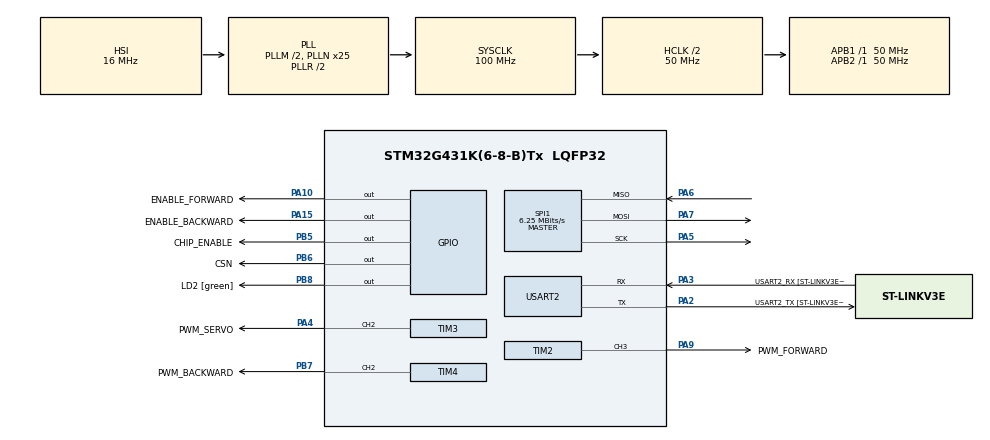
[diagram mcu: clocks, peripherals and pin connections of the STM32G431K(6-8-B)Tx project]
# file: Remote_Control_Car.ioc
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Mcu.Family=STM32G4
Mcu.Name=STM32G431K(6-8-B)Tx
Mcu.Package=LQFP32
NVIC.PriorityGroup=NVIC_PRIORITYGROUP_4
PA10.GPIO_Label=ENABLE_FORWARD
PA10.Signal=GPIO_Output
PA13.GPIO_Label=T_SWDIO
PA13.Mode=Serial_Wire
PA13.Signal=SYS_JTMS-SWDIO
PA14.GPIO_Label=T_SWCLK
PA14.Mode=Serial_Wire
PA14.Signal=SYS_JTCK-SWCLK
PA15.GPIO_Label=ENABLE_BACKWARD
PA15.Signal=GPIO_Output
PA2.GPIO_Label=USART2_TX [ST-LINKV3E_VCP_RX]
PA2.Mode=Asynchronous
PA2.Signal=USART2_TX
PA3.GPIO_Label=USART2_RX [ST-LINKV3E_VCP_TX]
PA3.Mode=Asynchronous
PA3.Signal=USART2_RX
PA4.GPIO_Label=PWM_SERVO
PA4.Signal=S_TIM3_CH2
PA5.Mode=Full_Duplex_Master
PA5.Signal=SPI1_SCK
PA6.Mode=Full_Duplex_Master
PA6.Signal=SPI1_MISO
PA7.Mode=Full_Duplex_Master
PA7.Signal=SPI1_MOSI
PA9.GPIO_Label=PWM_FORWARD
PA9.Signal=S_TIM2_CH3
PB3.GPIO_Label=T_SWO
PB3.Signal=SYS_JTDO-SWO
PB5.GPIO_Label=CHIP_ENABLE
PB5.Signal=GPIO_Output
PB6.GPIO_Label=CSN
PB6.PinState=GPIO_PIN_SET
PB6.Signal=GPIO_Output
PB7.GPIO_Label=PWM_BACKWARD
PB7.Signal=S_TIM4_CH2
PB8-BOOT0.GPIO_Label=LD2 [green]
PB8-BOOT0.Signal=GPIO_Output
ProjectManager.HeapSize=0x200
ProjectManager.StackSize=0x400
ProjectManager.TargetToolchain=STM32CubeIDE
RCC.ADC12Freq_Value=100000000
RCC.AHBCLKDivider=RCC_SYSCLK_DIV2
RCC.AHBFreq_Value=50000000
RCC.APB1Freq_Value=50000000
RCC.APB1TimFreq_Value=50000000
RCC.APB2Freq_Value=50000000
RCC.APB2TimFreq_Value=50000000
RCC.CortexFreq_Value=50000000
RCC.EXTERNAL_CLOCK_VALUE=12288000
RCC.HCLKFreq_Value=50000000
RCC.HSE_VALUE=8000000
RCC.HSI48_VALUE=48000000
RCC.HSI_VALUE=16000000
RCC.LSE_VALUE=32768
RCC.PLLM=RCC_PLLM_DIV2
RCC.PLLN=25
RCC.SYSCLKFreq_VALUE=100000000
RCC.SYSCLKSource=RCC_SYSCLKSOURCE_PLLCLK
RCC.USBFreq_Value=100000000
RCC.VCOOutputFreq_Value=200000000
SH.S_TIM2_CH3.0=TIM2_CH3,PWM Generation3 CH3
SH.S_TIM3_CH2.0=TIM3_CH2,PWM Generation2 CH2
SH.S_TIM4_CH2.0=TIM4_CH2,PWM Generation2 CH2
SPI1.BaudRatePrescaler=SPI_BAUDRATEPRESCALER_8
SPI1.CalculateBaudRate=6.25 MBits/s
SPI1.DataSize=SPI_DATASIZE_8BIT
SPI1.Direction=SPI_DIRECTION_2LINES
SPI1.Mode=SPI_MODE_MASTER
SPI1.VirtualType=VM_MASTER
TIM2.Channel-PWM\ Generation3\ CH3=TIM_CHANNEL_3
TIM2.PeriodNoDither=200
TIM2.Prescaler=50000-1
TIM3.Channel-PWM\ Generation2\ CH2=TIM_CHANNEL_2
TIM3.PeriodNoDither=20000
TIM3.Prescaler=50-1
TIM3.PulseNoDither_2=1500
TIM4.Channel-PWM\ Generation2\ CH2=TIM_CHANNEL_2
TIM4.PeriodNoDither=200
TIM4.Prescaler=50000-1
USART2.VirtualMode-Asynchronous=VM_ASYNC
USART2.WordLength=WORDLENGTH_8B
VP_SYS_VS_DBSignals.Mode=DisableDeadBatterySignals
board=NUCLEO-G431KB

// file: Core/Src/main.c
/* USER CODE BEGIN Header */
/**
  ******************************************************************************
  * @file           : main.c
  * @brief          : Main program body
  ******************************************************************************
  * @attention
  *
  * Copyright (c) 2024 STMicroelectronics.
  * All rights reserved.
  *
  * This software is licensed under terms that can be found in the LICENSE file
  * in the root directory of this software component.
  * If no LICENSE file comes with this software, it is provided AS-IS.
  *
  ******************************************************************************
  */
/* USER CODE END Header */
#include "main.h"

/* USER CODE BEGIN Includes */
#include <string.h>
#include <stdbool.h>
#include <stdio.h>
#include "motor_control.h"
#include "RFDriver.h"
#include "process_raw_data.h"
/* USER CODE END Includes */

/* USER CODE BEGIN PD */
#define MAX_UINT_12 (4095)

#define RAW_STRAIGHT_VALUE ((MAX_UINT_12 + 1)/2)
#define RAW_STOP_VALUE ((MAX_UINT_12 + 1)/2)

#define STEERING_LEFT (1000)
#define STEERING_RIGHT (2000)
/* USER CODE END PD */

SPI_HandleTypeDef hspi1;

TIM_HandleTypeDef htim2;
TIM_HandleTypeDef htim3;
TIM_HandleTypeDef htim4;

UART_HandleTypeDef huart2;

void SystemClock_Config(void);
static void MX_GPIO_Init(void);
static void MX_USART2_UART_Init(void);
static void MX_SPI1_Init(void);
static void MX_TIM3_Init(void);
static void MX_TIM2_Init(void);
static void MX_TIM4_Init(void);

int main(void)
{

  /* MCU Configuration--------------------------------------------------------*/

  /* Reset of all peripherals, Initializes the Flash interface and the Systick. */
  HAL_Init();

  /* Configure the system clock */
  SystemClock_Config();

  /* Initialize all configured peripherals */
  MX_GPIO_Init();
  MX_USART2_UART_Init();
  MX_SPI1_Init();
  MX_TIM3_Init();
  MX_TIM2_Init();
  MX_TIM4_Init();

  /* Infinite loop */
  /* USER CODE BEGIN WHILE */

  char debug_buffer[40];

  // Setup Steering
  uint16_t raw_steering = RAW_STRAIGHT_VALUE;
  HAL_TIM_PWM_Start(&htim3, TIM_CHANNEL_2);

  // Setup Motor
  MC_HandleTypeDef hforward;
  hforward.htim = &htim2;
  hforward.channel = TIM_CHANNEL_3;
  hforward.port = ENABLE_FORWARD_GPIO_Port;
  hforward.pin = ENABLE_FORWARD_Pin;

  MC_HandleTypeDef hbackward = {
		  .htim = &htim4,
		  .channel = TIM_CHANNEL_2,
		  .port = ENABLE_BACKWARD_GPIO_Port,
		  .pin = ENABLE_BACKWARD_Pin,
  };

  setupMotorControl(hforward, hbackward);

  // Setup Radio
  RF_HandleTypeDef hRF;
  hRF.hspi = &hspi1;
  hRF.portCE = CHIP_ENABLE_GPIO_Port;
  hRF.pinCE = CHIP_ENABLE_Pin;
  hRF.portCSN = CSN_GPIO_Port;
  hRF.pinCSN = CSN_Pin;
  RFSetup(hRF);
  HAL_Delay(100);
  RXSetup();

  while (1)
  {

	// Retrieve Data
	const uint8_t rx_buffer_count = 32;
	uint8_t rx_buffer[rx_buffer_count];

	uint16_t raw_throttle = RAW_STOP_VALUE;
	if (RXReceive(rx_buffer)) {
		decodeData(rx_buffer, &raw_steering, &raw_throttle);
	}

	// Throttle Control
	const int8_t throttle = processRawThrottle(raw_throttle);
	wheelThrottle(throttle);

	// Steering Control
	// Left: Duty Cycle 1ms
	// Right: Duty Cycle 2ms
	// PWM Period: 20ms
	const uint32_t steering_range = STEERING_RIGHT - STEERING_LEFT;
	const uint32_t steering = STEERING_LEFT + (steering_range*raw_steering)/MAX_UINT_12;
	__HAL_TIM_SET_COMPARE(&htim3, TIM_CHANNEL_2, steering);

	sprintf(debug_buffer, "Steering, Throttle: %lu, %d,  \r\n", steering, throttle);
	HAL_UART_Transmit(&huart2, debug_buffer, strlen((char*)debug_buffer), HAL_MAX_DELAY);
	HAL_Delay(20);
    /* USER CODE END WHILE */

  }
}

void SystemClock_Config(void)
{
  RCC_OscInitTypeDef RCC_OscInitStruct = {0};
  RCC_ClkInitTypeDef RCC_ClkInitStruct = {0};

  /** Configure the main internal regulator output voltage
  */
  HAL_PWREx_ControlVoltageScaling(PWR_REGULATOR_VOLTAGE_SCALE1);

  /** Initializes the RCC Oscillators according to the specified parameters
  * in the RCC_OscInitTypeDef structure.
  */
  RCC_OscInitStruct.OscillatorType = RCC_OSCILLATORTYPE_HSI;
  RCC_OscInitStruct.HSIState = RCC_HSI_ON;
  RCC_OscInitStruct.HSICalibrationValue = RCC_HSICALIBRATION_DEFAULT;
  RCC_OscInitStruct.PLL.PLLState = RCC_PLL_ON;
  RCC_OscInitStruct.PLL.PLLSource = RCC_PLLSOURCE_HSI;
  RCC_OscInitStruct.PLL.PLLM = RCC_PLLM_DIV2;
  RCC_OscInitStruct.PLL.PLLN = 25;
  RCC_OscInitStruct.PLL.PLLP = RCC_PLLP_DIV2;
  RCC_OscInitStruct.PLL.PLLQ = RCC_PLLQ_DIV2;
  RCC_OscInitStruct.PLL.PLLR = RCC_PLLR_DIV2;
  if (HAL_RCC_OscConfig(&RCC_OscInitStruct) != HAL_OK)
  {
    Error_Handler();
  }

  /** Initializes the CPU, AHB and APB buses clocks
  */
  RCC_ClkInitStruct.ClockType = RCC_CLOCKTYPE_HCLK|RCC_CLOCKTYPE_SYSCLK
                              |RCC_CLOCKTYPE_PCLK1|RCC_CLOCKTYPE_PCLK2;
  RCC_ClkInitStruct.SYSCLKSource = RCC_SYSCLKSOURCE_PLLCLK;
  RCC_ClkInitStruct.AHBCLKDivider = RCC_SYSCLK_DIV2;
  RCC_ClkInitStruct.APB1CLKDivider = RCC_HCLK_DIV1;
  RCC_ClkInitStruct.APB2CLKDivider = RCC_HCLK_DIV1;

  if (HAL_RCC_ClockConfig(&RCC_ClkInitStruct, FLASH_LATENCY_1) != HAL_OK)
  {
    Error_Handler();
  }
}

static void MX_SPI1_Init(void)
{

  /* SPI1 parameter configuration*/
  hspi1.Instance = SPI1;
  hspi1.Init.Mode = SPI_MODE_MASTER;
  hspi1.Init.Direction = SPI_DIRECTION_2LINES;
  hspi1.Init.DataSize = SPI_DATASIZE_8BIT;
  hspi1.Init.CLKPolarity = SPI_POLARITY_LOW;
  hspi1.Init.CLKPhase = SPI_PHASE_1EDGE;
  hspi1.Init.NSS = SPI_NSS_SOFT;
  hspi1.Init.BaudRatePrescaler = SPI_BAUDRATEPRESCALER_8;
  hspi1.Init.FirstBit = SPI_FIRSTBIT_MSB;
  hspi1.Init.TIMode = SPI_TIMODE_DISABLE;
  hspi1.Init.CRCCalculation = SPI_CRCCALCULATION_DISABLE;
  hspi1.Init.CRCPolynomial = 7;
  hspi1.Init.CRCLength = SPI_CRC_LENGTH_DATASIZE;
  hspi1.Init.NSSPMode = SPI_NSS_PULSE_ENABLE;
  if (HAL_SPI_Init(&hspi1) != HAL_OK)
  {
    Error_Handler();
  }

}

static void MX_TIM2_Init(void)
{

  TIM_MasterConfigTypeDef sMasterConfig = {0};
  TIM_OC_InitTypeDef sConfigOC = {0};

  htim2.Instance = TIM2;
  htim2.Init.Prescaler = 50000-1;
  htim2.Init.CounterMode = TIM_COUNTERMODE_UP;
  htim2.Init.Period = 200;
  htim2.Init.ClockDivision = TIM_CLOCKDIVISION_DIV1;
  htim2.Init.AutoReloadPreload = TIM_AUTORELOAD_PRELOAD_DISABLE;
  if (HAL_TIM_PWM_Init(&htim2) != HAL_OK)
  {
    Error_Handler();
  }
  sMasterConfig.MasterOutputTrigger = TIM_TRGO_RESET;
  sMasterConfig.MasterSlaveMode = TIM_MASTERSLAVEMODE_DISABLE;
  if (HAL_TIMEx_MasterConfigSynchronization(&htim2, &sMasterConfig) != HAL_OK)
  {
    Error_Handler();
  }
  sConfigOC.OCMode = TIM_OCMODE_PWM1;
  sConfigOC.Pulse = 0;
  sConfigOC.OCPolarity = TIM_OCPOLARITY_HIGH;
  sConfigOC.OCFastMode = TIM_OCFAST_DISABLE;
  if (HAL_TIM_PWM_ConfigChannel(&htim2, &sConfigOC, TIM_CHANNEL_3) != HAL_OK)
  {
    Error_Handler();
  }
  HAL_TIM_MspPostInit(&htim2);

}

static void MX_TIM3_Init(void)
{

  TIM_MasterConfigTypeDef sMasterConfig = {0};
  TIM_OC_InitTypeDef sConfigOC = {0};

  htim3.Instance = TIM3;
  htim3.Init.Prescaler = 50-1;
  htim3.Init.CounterMode = TIM_COUNTERMODE_UP;
  htim3.Init.Period = 20000;
  htim3.Init.ClockDivision = TIM_CLOCKDIVISION_DIV1;
  htim3.Init.AutoReloadPreload = TIM_AUTORELOAD_PRELOAD_DISABLE;
  if (HAL_TIM_PWM_Init(&htim3) != HAL_OK)
  {
    Error_Handler();
  }
  sMasterConfig.MasterOutputTrigger = TIM_TRGO_RESET;
  sMasterConfig.MasterSlaveMode = TIM_MASTERSLAVEMODE_DISABLE;
  if (HAL_TIMEx_MasterConfigSynchronization(&htim3, &sMasterConfig) != HAL_OK)
  {
    Error_Handler();
  }
  sConfigOC.OCMode = TIM_OCMODE_PWM1;
  sConfigOC.Pulse = 1500;
  sConfigOC.OCPolarity = TIM_OCPOLARITY_HIGH;
  sConfigOC.OCFastMode = TIM_OCFAST_DISABLE;
  if (HAL_TIM_PWM_ConfigChannel(&htim3, &sConfigOC, TIM_CHANNEL_2) != HAL_OK)
  {
    Error_Handler();
  }
  HAL_TIM_MspPostInit(&htim3);

}

static void MX_TIM4_Init(void)
{

  TIM_MasterConfigTypeDef sMasterConfig = {0};
  TIM_OC_InitTypeDef sConfigOC = {0};

  htim4.Instance = TIM4;
  htim4.Init.Prescaler = 50000-1;
  htim4.Init.CounterMode = TIM_COUNTERMODE_UP;
  htim4.Init.Period = 200;
  htim4.Init.ClockDivision = TIM_CLOCKDIVISION_DIV1;
  htim4.Init.AutoReloadPreload = TIM_AUTORELOAD_PRELOAD_DISABLE;
  if (HAL_TIM_PWM_Init(&htim4) != HAL_OK)
  {
    Error_Handler();
  }
  sMasterConfig.MasterOutputTrigger = TIM_TRGO_RESET;
  sMasterConfig.MasterSlaveMode = TIM_MASTERSLAVEMODE_DISABLE;
  if (HAL_TIMEx_MasterConfigSynchronization(&htim4, &sMasterConfig) != HAL_OK)
  {
    Error_Handler();
  }
  sConfigOC.OCMode = TIM_OCMODE_PWM1;
  sConfigOC.Pulse = 0;
  sConfigOC.OCPolarity = TIM_OCPOLARITY_HIGH;
  sConfigOC.OCFastMode = TIM_OCFAST_DISABLE;
  if (HAL_TIM_PWM_ConfigChannel(&htim4, &sConfigOC, TIM_CHANNEL_2) != HAL_OK)
  {
    Error_Handler();
  }
  HAL_TIM_MspPostInit(&htim4);

}

static void MX_USART2_UART_Init(void)
{

  huart2.Instance = USART2;
  huart2.Init.BaudRate = 115200;
  huart2.Init.WordLength = UART_WORDLENGTH_8B;
  huart2.Init.StopBits = UART_STOPBITS_1;
  huart2.Init.Parity = UART_PARITY_NONE;
  huart2.Init.Mode = UART_MODE_TX_RX;
  huart2.Init.HwFlowCtl = UART_HWCONTROL_NONE;
  huart2.Init.OverSampling = UART_OVERSAMPLING_16;
  huart2.Init.OneBitSampling = UART_ONE_BIT_SAMPLE_DISABLE;
  huart2.Init.ClockPrescaler = UART_PRESCALER_DIV1;
  huart2.AdvancedInit.AdvFeatureInit = UART_ADVFEATURE_NO_INIT;
  if (HAL_UART_Init(&huart2) != HAL_OK)
  {
    Error_Handler();
  }
  if (HAL_UARTEx_SetTxFifoThreshold(&huart2, UART_TXFIFO_THRESHOLD_1_8) != HAL_OK)
  {
    Error_Handler();
  }
  if (HAL_UARTEx_SetRxFifoThreshold(&huart2, UART_RXFIFO_THRESHOLD_1_8) != HAL_OK)
  {
    Error_Handler();
  }
  if (HAL_UARTEx_DisableFifoMode(&huart2) != HAL_OK)
  {
    Error_Handler();
  }

}

static void MX_GPIO_Init(void)
{
  GPIO_InitTypeDef GPIO_InitStruct = {0};

  /* GPIO Ports Clock Enable */
  __HAL_RCC_GPIOA_CLK_ENABLE();
  __HAL_RCC_GPIOB_CLK_ENABLE();

  /*Configure GPIO pin Output Level */
  HAL_GPIO_WritePin(GPIOA, ENABLE_FORWARD_Pin|ENABLE_BACKWARD_Pin, GPIO_PIN_RESET);

  /*Configure GPIO pin Output Level */
  HAL_GPIO_WritePin(GPIOB, CHIP_ENABLE_Pin|LD2_Pin, GPIO_PIN_RESET);

  /*Configure GPIO pin Output Level */
  HAL_GPIO_WritePin(CSN_GPIO_Port, CSN_Pin, GPIO_PIN_SET);

  /*Configure GPIO pins : ENABLE_FORWARD_Pin ENABLE_BACKWARD_Pin */
  GPIO_InitStruct.Pin = ENABLE_FORWARD_Pin|ENABLE_BACKWARD_Pin;
  GPIO_InitStruct.Mode = GPIO_MODE_OUTPUT_PP;
  GPIO_InitStruct.Pull = GPIO_NOPULL;
  GPIO_InitStruct.Speed = GPIO_SPEED_FREQ_LOW;
  HAL_GPIO_Init(GPIOA, &GPIO_InitStruct);

  /*Configure GPIO pins : CHIP_ENABLE_Pin CSN_Pin LD2_Pin */
  GPIO_InitStruct.Pin = CHIP_ENABLE_Pin|CSN_Pin|LD2_Pin;
  GPIO_InitStruct.Mode = GPIO_MODE_OUTPUT_PP;
  GPIO_InitStruct.Pull = GPIO_NOPULL;
  GPIO_InitStruct.Speed = GPIO_SPEED_FREQ_LOW;
  HAL_GPIO_Init(GPIOB, &GPIO_InitStruct);

}

void Error_Handler(void)
{
  __disable_irq();
  while (1)
  {
  }
}
